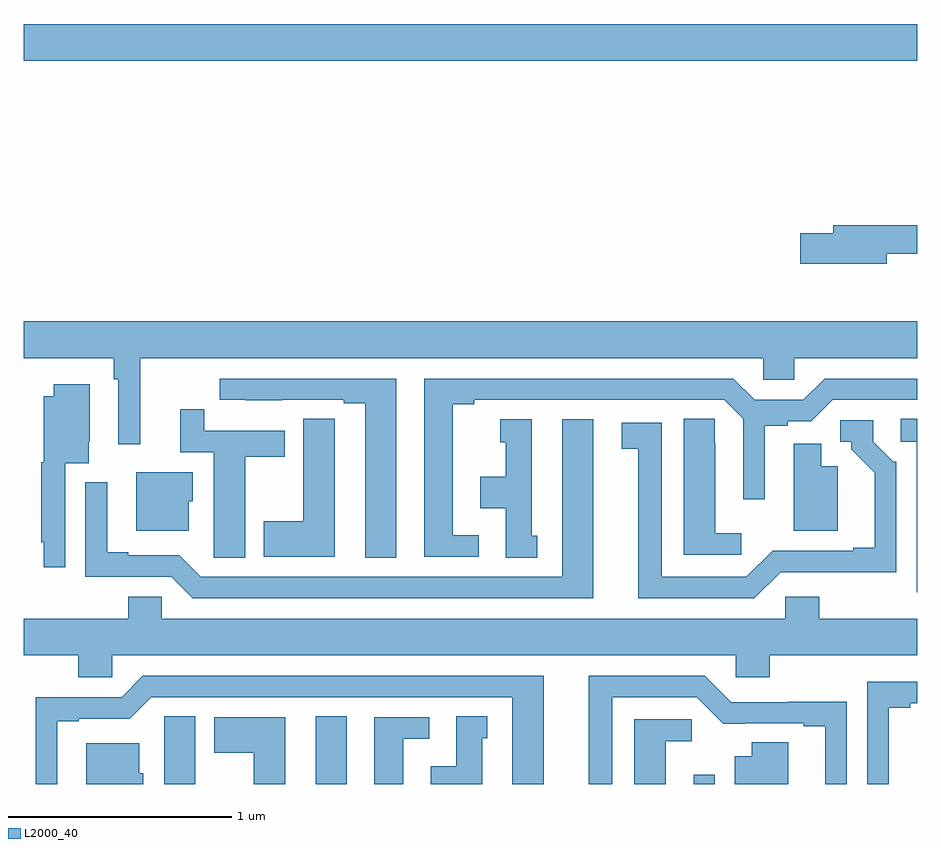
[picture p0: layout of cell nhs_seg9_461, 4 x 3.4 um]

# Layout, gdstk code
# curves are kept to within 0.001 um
import gdstk
lib = gdstk.Library(unit=1e-6, precision=1e-09)
def R(c, l, rs):  # rectangles x0, y0, x1, y1
    for r in rs: c.add(gdstk.rectangle(r[:2], r[2:], *l))
def P(c, l, *ps):  # polygons
    for p in ps: c.add(gdstk.Polygon(p, *l))
L2000_40 = (2000, 40)

nhs_seg9_461 = lib.new_cell('nhs_seg9_461')
R(nhs_seg9_461, L2000_40, [(134.306,1206.5,134.446,1206.803), (135.999,1206.5,136.095,1206.541), (133,1209.74,137,1209.904)])
P(nhs_seg9_461, L2000_40, [(136.864,1208.874),(137,1208.874),(137,1209.002),(136.625,1209.002),(136.625,1208.966),(136.476,1208.966),(136.476,1208.831),(136.864,1208.831)],
  [(133.52,1208.408),(136.311,1208.408),(136.311,1208.31),(136.449,1208.31),(136.449,1208.408),(137,1208.408),(137,1208.572),(133,1208.572),(133,1208.408),(133.402,1208.408),(133.402,1208.312),(133.422,1208.312),(133.422,1208.022),(133.52,1208.022)],
  [(135.037,1207.614),(134.92,1207.614),(134.92,1208.2),(135.016,1208.2),(135.016,1208.22),(136.137,1208.22),(136.221,1208.136),(136.221,1207.776),(136.318,1207.776),(136.318,1208.104),(136.422,1208.104),(136.422,1208.124),(136.527,1208.124),(136.623,1208.22),(137,1208.22),(137,1208.316),(136.587,1208.316),(136.491,1208.22),(136.273,1208.22),(136.177,1208.316),(134.792,1208.316),(134.792,1207.518),(135.037,1207.518)],
  [(134.668,1208.316),(133.878,1208.316),(133.878,1208.22),(133.99,1208.22),(133.99,1208.219),(134.156,1208.219),(134.156,1208.22),(134.432,1208.22),(134.432,1208.205),(134.528,1208.205),(134.528,1207.513),(134.668,1207.513)],
  [(133.185,1207.937),(133.291,1207.937),(133.291,1208.034),(133.294,1208.034),(133.294,1208.29),(133.133,1208.29),(133.133,1208.236),(133.088,1208.236),(133.088,1207.941),(133.077,1207.941),(133.077,1207.582),(133.088,1207.582),(133.088,1207.47),(133.185,1207.47)],
  [(133.99,1207.966),(134.167,1207.966),(134.167,1208.082),(133.808,1208.082),(133.808,1208.179),(133.7,1208.179),(133.7,1207.986),(133.85,1207.986),(133.85,1207.624),(133.851,1207.624),(133.851,1207.513),(133.99,1207.513)],
  [(137,1208.135),(136.926,1208.135),(136.926,1208.034),(136.998,1208.034),(136.998,1207.359),(137,1207.359)],
  [(134.392,1208.027),(134.391,1208.027),(134.391,1208.135),(134.252,1208.135),(134.252,1207.677),(134.075,1207.677),(134.075,1207.517),(134.392,1207.517)],
  [(136.213,1207.624),(136.096,1207.624),(136.096,1208.027),(136.095,1208.027),(136.095,1208.135),(135.956,1208.135),(135.956,1207.527),(136.213,1207.527)],
  [(135.55,1208.134),(135.41,1208.134),(135.41,1207.428),(133.791,1207.428),(133.695,1207.524),(133.468,1207.524),(133.468,1207.537),(133.372,1207.537),(133.372,1207.852),(133.275,1207.852),(133.275,1207.428),(133.659,1207.428),(133.755,1207.332),(135.55,1207.332)],
  [(135.298,1207.611),(135.274,1207.611),(135.274,1208.134),(135.134,1208.134),(135.134,1208.031),(135.158,1208.031),(135.158,1207.876),(135.044,1207.876),(135.044,1207.736),(135.158,1207.736),(135.158,1207.513),(135.298,1207.513)],
  [(136.389,1207.449),(136.908,1207.448),(136.908,1207.944),(136.893,1207.944),(136.803,1208.034),(136.803,1208.13),(136.656,1208.13),(136.656,1208.034),(136.706,1208.034),(136.706,1207.999),(136.811,1207.894),(136.811,1207.558),(136.715,1207.558),(136.715,1207.545),(136.353,1207.545),(136.236,1207.428),(135.856,1207.428),(135.856,1208.118),(135.678,1208.118),(135.678,1208.002),(135.752,1208.002),(135.752,1207.332),(136.272,1207.332)],
  [(136.645,1207.924),(136.57,1207.924),(136.57,1208.023),(136.448,1208.023),(136.448,1207.634),(136.645,1207.634)],
  [(133.738,1207.767),(133.756,1207.767),(133.756,1207.897),(133.502,1207.897),(133.502,1207.634),(133.738,1207.634)],
  [(133.395,1207.076),(136.188,1207.076),(136.188,1206.978),(136.34,1206.978),(136.34,1207.076),(137,1207.076),(137,1207.24),(136.562,1207.24),(136.562,1207.338),(136.41,1207.338),(136.41,1207.24),(133.617,1207.24),(133.617,1207.338),(133.466,1207.338),(133.466,1207.24),(133,1207.24),(133,1207.076),(133.244,1207.076),(133.244,1206.978),(133.395,1206.978)],
  [(135.634,1206.888),(136.014,1206.888),(136.132,1206.77),(136.493,1206.771),(136.493,1206.759),(136.589,1206.759),(136.589,1206.5),(136.686,1206.5),(136.686,1206.869),(136.423,1206.869),(136.423,1206.867),(136.167,1206.867),(136.05,1206.984),(135.53,1206.984),(135.53,1206.5),(135.634,1206.5)],
  [(133.15,1206.78),(133.246,1206.78),(133.246,1206.792),(133.473,1206.792),(133.569,1206.888),(135.188,1206.888),(135.188,1206.5),(135.328,1206.5),(135.328,1206.984),(133.533,1206.984),(133.437,1206.888),(133.053,1206.888),(133.053,1206.5),(133.15,1206.5)],
  [(136.873,1206.841),(136.969,1206.841),(136.969,1206.861),(137,1206.861),(137,1206.957),(136.776,1206.957),(136.776,1206.5),(136.873,1206.5)],
  [(135.052,1206.705),(135.076,1206.705),(135.076,1206.803),(134.936,1206.803),(134.936,1206.58),(134.822,1206.58),(134.822,1206.5),(135.052,1206.5)],
  [(133.768,1206.803),(133.629,1206.803),(133.629,1206.692),(133.628,1206.692),(133.628,1206.5),(133.768,1206.5)],
  [(134.17,1206.799),(133.853,1206.799),(133.853,1206.64),(134.03,1206.64),(134.03,1206.5),(134.17,1206.5)],
  [(134.698,1206.702),(134.815,1206.702),(134.815,1206.798),(134.57,1206.798),(134.57,1206.5),(134.698,1206.5)],
  [(135.874,1206.692),(135.991,1206.692),(135.991,1206.789),(135.734,1206.789),(135.734,1206.5),(135.874,1206.5)],
  [(136.423,1206.686),(136.259,1206.686),(136.259,1206.625),(136.184,1206.625),(136.184,1206.5),(136.423,1206.5)],
  [(133.534,1206.549),(133.516,1206.549),(133.516,1206.682),(133.28,1206.682),(133.28,1206.5),(133.534,1206.5)])

lib.write_gds('nhs_seg9_461.gds')
